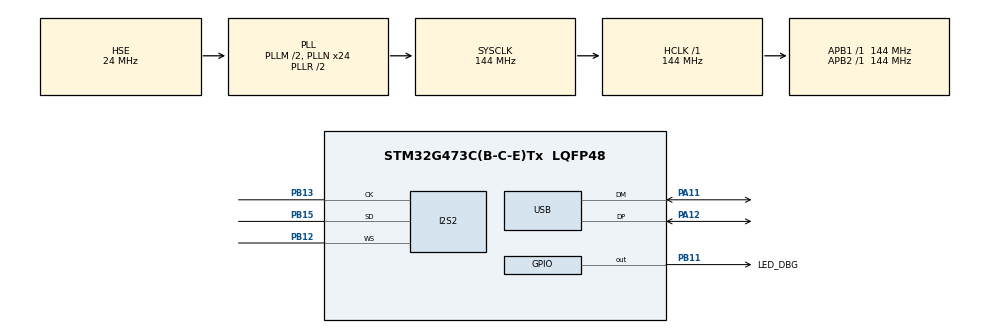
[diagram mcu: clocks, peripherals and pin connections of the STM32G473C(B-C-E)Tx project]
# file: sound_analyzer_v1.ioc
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Dma.Request0=SPI2_RX
Dma.SPI2_RX.0.Direction=DMA_PERIPH_TO_MEMORY
Dma.SPI2_RX.0.EventEnable=DISABLE
Dma.SPI2_RX.0.Instance=DMA1_Channel1
Dma.SPI2_RX.0.MemDataAlignment=DMA_MDATAALIGN_HALFWORD
Dma.SPI2_RX.0.MemInc=DMA_MINC_ENABLE
Dma.SPI2_RX.0.Mode=DMA_CIRCULAR
Dma.SPI2_RX.0.PeriphDataAlignment=DMA_PDATAALIGN_HALFWORD
Dma.SPI2_RX.0.PeriphInc=DMA_PINC_DISABLE
Dma.SPI2_RX.0.Polarity=HAL_DMAMUX_REQ_GEN_RISING
Dma.SPI2_RX.0.Priority=DMA_PRIORITY_LOW
Dma.SPI2_RX.0.RequestNumber=1
Dma.SPI2_RX.0.SignalID=NONE
Dma.SPI2_RX.0.SyncEnable=DISABLE
Dma.SPI2_RX.0.SyncPolarity=HAL_DMAMUX_SYNC_NO_EVENT
Dma.SPI2_RX.0.SyncRequestNumber=1
Dma.SPI2_RX.0.SyncSignalID=NONE
I2S2.AudioFreq=I2S_AUDIOFREQ_48K
I2S2.DataFormat=I2S_DATAFORMAT_24B
I2S2.ErrorAudioFreq=-0.26 %
I2S2.FullDuplexMode=I2S_FULLDUPLEXMODE_DISABLE
I2S2.Instance=SPI$Index
I2S2.Mode=I2S_MODE_MASTER_RX
I2S2.RealAudioFreq=47.872 KHz
I2S2.VirtualMode=I2S_MODE_MASTER
Mcu.Family=STM32G4
Mcu.Name=STM32G473C(B-C-E)Tx
Mcu.Package=LQFP48
NVIC.DMA1_Channel1_IRQn=true\:0\:0\:false\:false\:true\:false\:true\:true
NVIC.PriorityGroup=NVIC_PRIORITYGROUP_4
NVIC.USB_HP_IRQn=true\:0\:0\:false\:false\:true\:true\:true\:true
NVIC.USB_LP_IRQn=true\:0\:0\:false\:false\:true\:false\:true\:true
PA11.Mode=Device
PA11.Signal=USB_DM
PA12.Mode=Device
PA12.Signal=USB_DP
PA13.Signal=SYS_JTMS-SWDIO
PA14.Signal=SYS_JTCK-SWCLK
PB11.GPIO_Label=LED_DBG
PB11.Signal=GPIO_Output
PB12.Mode=Half_Duplex_Master
PB12.Signal=I2S2_WS
PB13.Mode=Half_Duplex_Master
PB13.Signal=I2S2_CK
PB15.GPIO_PuPd=GPIO_NOPULL
PB15.Mode=Half_Duplex_Master
PB15.Signal=I2S2_SD
PF0-OSC_IN.Mode=HSE-External-Oscillator
PF0-OSC_IN.Signal=RCC_OSC_IN
PF1-OSC_OUT.Mode=HSE-External-Oscillator
PF1-OSC_OUT.Signal=RCC_OSC_OUT
ProjectManager.HeapSize=0x200
ProjectManager.StackSize=0x400
ProjectManager.TargetToolchain=STM32CubeIDE
RCC.ADC12Freq_Value=144000000
RCC.ADC345Freq_Value=144000000
RCC.AHBFreq_Value=144000000
RCC.APB1Freq_Value=144000000
RCC.APB1TimFreq_Value=144000000
RCC.APB2Freq_Value=144000000
RCC.APB2TimFreq_Value=144000000
RCC.CortexFreq_Value=144000000
RCC.EXTERNAL_CLOCK_VALUE=12288000
RCC.HCLKFreq_Value=144000000
RCC.HSE_VALUE=24000000
RCC.HSI48_VALUE=48000000
RCC.HSI_VALUE=16000000
RCC.LSE_VALUE=32768
RCC.PLLM=RCC_PLLM_DIV2
RCC.PLLN=24
RCC.PLLQ=RCC_PLLQ_DIV6
RCC.PLLSourceVirtual=RCC_PLLSOURCE_HSE
RCC.SYSCLKFreq_VALUE=144000000
RCC.SYSCLKSource=RCC_SYSCLKSOURCE_PLLCLK
RCC.USBFreq_Value=48000000
RCC.VCOOutputFreq_Value=288000000
USB.Sof_enable=ENABLE
USB_DEVICE.CLASS_NAME_FS=CDC
USB_DEVICE.PID_CDC_FS=0x5740
USB_DEVICE.PRODUCT_STRING_CDC_FS=Sound Analyzer v1 Custom board
USB_DEVICE.USBD_LPM_ENABLED=0
USB_DEVICE.VID=0x483
USB_DEVICE.VirtualMode=Cdc
USB_DEVICE.VirtualModeFS=Cdc_FS
VP_SYS_VS_DBSignals.Mode=DisableDeadBatterySignals
VP_USB_DEVICE_VS_USB_DEVICE_CDC_FS.Mode=CDC_FS
board=custom

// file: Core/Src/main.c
/* USER CODE BEGIN Header */
/**
 ******************************************************************************
 * @file           : main.c
 * @brief          : Main program body
 ******************************************************************************
 * @attention
 *
 * Copyright (c) 2026 STMicroelectronics.
 * All rights reserved.
 *
 * This software is licensed under terms that can be found in the LICENSE file
 * in the root directory of this software component.
 * If no LICENSE file comes with this software, it is provided AS-IS.
 *
 ******************************************************************************
 */
/* USER CODE END Header */
#include "main.h"
#include "usb_device.h"

/* USER CODE BEGIN Includes */
#include "usbd_cdc_if.h"
#include <string.h>
#include <stdbool.h>
#include "arm_math.h"
#include "spectrum_analysis.h"
/* USER CODE END Includes */

/* USER CODE BEGIN PD */
#define ARM_MATH_CM4

/* USER CODE END PD */

I2S_HandleTypeDef hi2s2;
DMA_HandleTypeDef hdma_spi2_rx;

void SystemClock_Config(void);
static void MX_GPIO_Init(void);
static void MX_DMA_Init(void);
static void MX_I2S2_Init(void);
/* USER CODE BEGIN PFP */
static void show_values(float32_t*, size_t );
/* USER CODE END PFP */

int main(void) {

	/* MCU Configuration--------------------------------------------------------*/

	/* Reset of all peripherals, Initializes the Flash interface and the Systick. */
	HAL_Init();

	/* Configure the system clock */
	SystemClock_Config();

	/* USER CODE BEGIN SysInit */
#if 0
  //Enable cycle counter for measuring time duration
  CoreDebug->DEMCR |= CoreDebug_DEMCR_TRCENA_Msk;
  DWT->CYCCNT = 0;
  DWT->CTRL |= DWT_CTRL_CYCCNTENA_Msk;
  volatile uint32_t t1;
  volatile uint32_t t2;
  volatile uint32_t diff;
  const uint32_t sys_clock_freq = HAL_RCC_GetSysClockFreq();
#endif
	/* USER CODE END SysInit */

	/* Initialize all configured peripherals */
	MX_GPIO_Init();
	MX_DMA_Init();
	MX_I2S2_Init();
	MX_USB_Device_Init();
	/* USER CODE BEGIN 2 */

	uint32_t last_send = 0;
	uint32_t refresh_time = 10; //ms

	HAL_GPIO_WritePin(LED_DBG_GPIO_Port, LED_DBG_Pin, GPIO_PIN_SET);
	HAL_Delay(500);
	HAL_GPIO_WritePin(LED_DBG_GPIO_Port, LED_DBG_Pin, GPIO_PIN_RESET);
	HAL_Delay(500);

	// Initialize data stucturel
	spectrum_init(&spectrum);

	//Start reading from microphones
	if (HAL_I2S_Receive_DMA(&hi2s2, spectrum.raw_mic_data, HALF_DOUBLE_BUFFER_SIZE)
			!= HAL_OK) {
		Error_Handler();
	}

	//Successful initilization
	HAL_GPIO_WritePin(LED_DBG_GPIO_Port, LED_DBG_Pin, GPIO_PIN_SET);

	/* USER CODE END 2 */

	/* Infinite loop */
	/* USER CODE BEGIN WHILE */
	while (1) {
		if (spectrum.is_input_data_ready) {
			spectrum.is_input_data_ready = false;
			spectrum.process_input(&spectrum);
		}

		if (spectrum.is_mic_buffer_filled) {
			spectrum.is_mic_buffer_filled = false;
			spectrum.compute_spectral_data(&spectrum);
		}

		if (((HAL_GetTick() - last_send) >= refresh_time) && spectrum.is_fft_done && tx_complete) {
			last_send = HAL_GetTick();
			spectrum.is_fft_done = false;
			tx_complete = false;
			spectrum.mag_to_db(&spectrum);
			show_values(spectrum.dB_data, HALF_FFT_SIZE);
		}
		/* USER CODE END WHILE */

	}
}

void SystemClock_Config(void) {
	RCC_OscInitTypeDef RCC_OscInitStruct = { 0 };
	RCC_ClkInitTypeDef RCC_ClkInitStruct = { 0 };

	/** Configure the main internal regulator output voltage
	 */
	HAL_PWREx_ControlVoltageScaling(PWR_REGULATOR_VOLTAGE_SCALE1);

	/** Initializes the RCC Oscillators according to the specified parameters
	 * in the RCC_OscInitTypeDef structure.
	 */
	RCC_OscInitStruct.OscillatorType = RCC_OSCILLATORTYPE_HSE;
	RCC_OscInitStruct.HSEState = RCC_HSE_ON;
	RCC_OscInitStruct.PLL.PLLState = RCC_PLL_ON;
	RCC_OscInitStruct.PLL.PLLSource = RCC_PLLSOURCE_HSE;
	RCC_OscInitStruct.PLL.PLLM = RCC_PLLM_DIV2;
	RCC_OscInitStruct.PLL.PLLN = 24;
	RCC_OscInitStruct.PLL.PLLP = RCC_PLLP_DIV2;
	RCC_OscInitStruct.PLL.PLLQ = RCC_PLLQ_DIV6;
	RCC_OscInitStruct.PLL.PLLR = RCC_PLLR_DIV2;
	if (HAL_RCC_OscConfig(&RCC_OscInitStruct) != HAL_OK) {
		Error_Handler();
	}

	/** Initializes the CPU, AHB and APB buses clocks
	 */
	RCC_ClkInitStruct.ClockType = RCC_CLOCKTYPE_HCLK | RCC_CLOCKTYPE_SYSCLK
			| RCC_CLOCKTYPE_PCLK1 | RCC_CLOCKTYPE_PCLK2;
	RCC_ClkInitStruct.SYSCLKSource = RCC_SYSCLKSOURCE_PLLCLK;
	RCC_ClkInitStruct.AHBCLKDivider = RCC_SYSCLK_DIV1;
	RCC_ClkInitStruct.APB1CLKDivider = RCC_HCLK_DIV1;
	RCC_ClkInitStruct.APB2CLKDivider = RCC_HCLK_DIV1;

	if (HAL_RCC_ClockConfig(&RCC_ClkInitStruct, FLASH_LATENCY_4) != HAL_OK) {
		Error_Handler();
	}
}

static void MX_I2S2_Init(void) {

	hi2s2.Instance = SPI2;
	hi2s2.Init.Mode = I2S_MODE_MASTER_RX;
	hi2s2.Init.Standard = I2S_STANDARD_PHILIPS;
	hi2s2.Init.DataFormat = I2S_DATAFORMAT_24B;
	hi2s2.Init.MCLKOutput = I2S_MCLKOUTPUT_DISABLE;
	hi2s2.Init.AudioFreq = I2S_AUDIOFREQ_48K;
	hi2s2.Init.CPOL = I2S_CPOL_LOW;
	if (HAL_I2S_Init(&hi2s2) != HAL_OK) {
		Error_Handler();
	}

}

static void MX_DMA_Init(void) {

	/* DMA controller clock enable */
	__HAL_RCC_DMAMUX1_CLK_ENABLE();
	__HAL_RCC_DMA1_CLK_ENABLE();

	/* DMA interrupt init */
	/* DMA1_Channel1_IRQn interrupt configuration */
	HAL_NVIC_SetPriority(DMA1_Channel1_IRQn, 0, 0);
	HAL_NVIC_EnableIRQ(DMA1_Channel1_IRQn);

}

static void MX_GPIO_Init(void) {
	GPIO_InitTypeDef GPIO_InitStruct = { 0 };

	/* GPIO Ports Clock Enable */
	__HAL_RCC_GPIOC_CLK_ENABLE();
	__HAL_RCC_GPIOF_CLK_ENABLE();
	__HAL_RCC_GPIOG_CLK_ENABLE();
	__HAL_RCC_GPIOA_CLK_ENABLE();
	__HAL_RCC_GPIOB_CLK_ENABLE();

	/*Configure GPIO pin Output Level */
	HAL_GPIO_WritePin(LED_DBG_GPIO_Port, LED_DBG_Pin, GPIO_PIN_RESET);

	/*Configure GPIO pins : PC13 PC14 PC15 */
	GPIO_InitStruct.Pin = GPIO_PIN_13 | GPIO_PIN_14 | GPIO_PIN_15;
	GPIO_InitStruct.Mode = GPIO_MODE_ANALOG;
	GPIO_InitStruct.Pull = GPIO_NOPULL;
	HAL_GPIO_Init(GPIOC, &GPIO_InitStruct);

	/*Configure GPIO pin : PG10 */
	GPIO_InitStruct.Pin = GPIO_PIN_10;
	GPIO_InitStruct.Mode = GPIO_MODE_ANALOG;
	GPIO_InitStruct.Pull = GPIO_NOPULL;
	HAL_GPIO_Init(GPIOG, &GPIO_InitStruct);

	/*Configure GPIO pins : PA0 PA1 PA2 PA3
	 PA4 PA5 PA6 PA7
	 PA8 PA9 PA10 PA15 */
	GPIO_InitStruct.Pin = GPIO_PIN_0 | GPIO_PIN_1 | GPIO_PIN_2 | GPIO_PIN_3
			| GPIO_PIN_4 | GPIO_PIN_5 | GPIO_PIN_6 | GPIO_PIN_7 | GPIO_PIN_8
			| GPIO_PIN_9 | GPIO_PIN_10 | GPIO_PIN_15;
	GPIO_InitStruct.Mode = GPIO_MODE_ANALOG;
	GPIO_InitStruct.Pull = GPIO_NOPULL;
	HAL_GPIO_Init(GPIOA, &GPIO_InitStruct);

	/*Configure GPIO pins : PB0 PB1 PB2 PB10
	 PB14 PB3 PB4 PB5
	 PB6 PB7 PB8 PB9 */
	GPIO_InitStruct.Pin = GPIO_PIN_0 | GPIO_PIN_1 | GPIO_PIN_2 | GPIO_PIN_10
			| GPIO_PIN_14 | GPIO_PIN_3 | GPIO_PIN_4 | GPIO_PIN_5 | GPIO_PIN_6
			| GPIO_PIN_7 | GPIO_PIN_8 | GPIO_PIN_9;
	GPIO_InitStruct.Mode = GPIO_MODE_ANALOG;
	GPIO_InitStruct.Pull = GPIO_NOPULL;
	HAL_GPIO_Init(GPIOB, &GPIO_InitStruct);

	/*Configure GPIO pin : LED_DBG_Pin */
	GPIO_InitStruct.Pin = LED_DBG_Pin;
	GPIO_InitStruct.Mode = GPIO_MODE_OUTPUT_PP;
	GPIO_InitStruct.Pull = GPIO_NOPULL;
	GPIO_InitStruct.Speed = GPIO_SPEED_FREQ_LOW;
	HAL_GPIO_Init(LED_DBG_GPIO_Port, &GPIO_InitStruct);

}

/* USER CODE BEGIN 4 */
/**
 * @brief Display the results of the frequency computation
 * @param[in] data_out Output data to send to host
 */
static void show_values(float32_t* data_out, size_t data_out_sz) {

	char str_to_send[8192] = { 0 }; // arbitary large size
	int len = 0;

	// Group data to format '[I0.D0, I1.D1, ... IXX,DXX]'
	len += snprintf(str_to_send + len, sizeof(str_to_send) - len, "[");
	for (int i = 0; i < data_out_sz; i++) {
		len += snprintf(str_to_send + len, sizeof(str_to_send) - len, "%.1f,",
				data_out[i]);
	}
	snprintf(str_to_send + len - 1, sizeof(str_to_send) - len, "]\n");

	//Send them to host PC via USB
	CDC_Transmit_FS((uint8_t*) str_to_send, strlen(str_to_send));
}

void HAL_I2S_RxHalfCpltCallback(I2S_HandleTypeDef *hi2s) {
	// Choose first half of double buffer
	spectrum.buf_ptr = &spectrum.raw_mic_data[0];

	spectrum.is_input_data_ready = true;
}

void HAL_I2S_RxCpltCallback(I2S_HandleTypeDef *hi2s) {
	// Choose second half of double buffer
	spectrum.buf_ptr = &spectrum.raw_mic_data[HALF_DOUBLE_BUFFER_SIZE];

	spectrum.is_input_data_ready = true;
}
/* USER CODE END 4 */

void Error_Handler(void) {
	/* USER CODE BEGIN Error_Handler_Debug */
	/* User can add his own implementation to report the HAL error return state */
	__disable_irq();
	while (1) {
		HAL_GPIO_WritePin(LED_DBG_GPIO_Port, LED_DBG_Pin, GPIO_PIN_SET);
		HAL_Delay(100);
		HAL_GPIO_WritePin(LED_DBG_GPIO_Port, LED_DBG_Pin, GPIO_PIN_RESET);
		HAL_Delay(100);
	}
	/* USER CODE END Error_Handler_Debug */
}
